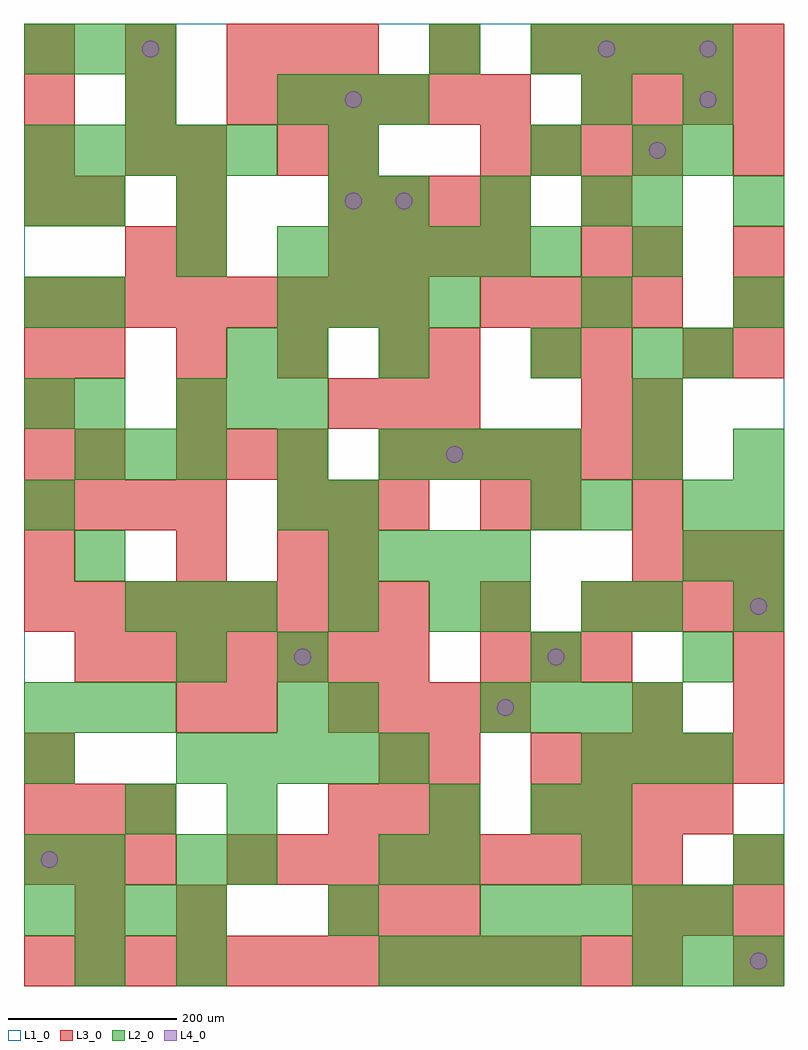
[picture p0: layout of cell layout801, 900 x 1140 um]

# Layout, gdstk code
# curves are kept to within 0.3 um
import gdstk
lib = gdstk.Library(unit=1e-6, precision=1e-09)
def R(c, l, rs):  # rectangles x0, y0, x1, y1
    for r in rs: c.add(gdstk.rectangle(r[:2], r[2:], *l))
def A(c, l, x, y, w, h, nx, ny, dx, dy):  # array of equal rectangles
    R(c, l, [(x+i*dx, y+j*dy, x+i*dx+w, y+j*dy+h) for i in range(nx) for j in range(ny)])
def P(c, l, *ps):  # polygons
    for p in ps: c.add(gdstk.Polygon(p, *l))
L1_0 = (1, 0)
L2_0 = (2, 0)
L3_0 = (3, 0)
L4_0 = (4, 0)

layout801 = lib.new_cell('layout801')
R(layout801, L1_0, [(0,0,900,1140)])
A(layout801, L2_0, 420, 0, 60, 60, 4, 2, 60, 600)
A(layout801, L2_0, 720, 0, 60, 60, 3, 1, 60, 0)
A(layout801, L2_0, 0, 60, 60, 60, 4, 1, 60, 0)
A(layout801, L2_0, 540, 60, 60, 60, 5, 1, 60, 0)
A(layout801, L2_0, 480, 120, 60, 60, 3, 1, 180, 0)
A(layout801, L2_0, 600, 180, 60, 60, 1, 4, 0, 180)
A(layout801, L2_0, 180, 240, 60, 60, 5, 1, 60, 0)
A(layout801, L2_0, 660, 240, 60, 60, 3, 1, 60, 0)
A(layout801, L2_0, 0, 300, 60, 60, 3, 2, 60, 780)
A(layout801, L2_0, 360, 300, 60, 60, 1, 3, 0, 120)
A(layout801, L2_0, 540, 300, 60, 60, 4, 1, 60, 0)
A(layout801, L2_0, 120, 420, 60, 60, 3, 1, 60, 0)
A(layout801, L2_0, 840, 420, 60, 60, 1, 4, 0, 60)
A(layout801, L2_0, 360, 480, 60, 60, 4, 1, 60, 0)
A(layout801, L2_0, 0, 540, 60, 60, 1, 4, 0, 120)
A(layout801, L2_0, 660, 540, 60, 60, 1, 3, 0, 240)
A(layout801, L2_0, 60, 600, 60, 60, 3, 1, 60, 0)
A(layout801, L2_0, 720, 600, 60, 60, 1, 3, 0, 60)
A(layout801, L2_0, 60, 660, 60, 60, 1, 3, 0, 120)
A(layout801, L2_0, 180, 660, 60, 60, 3, 1, 60, 0)
A(layout801, L2_0, 300, 780, 60, 60, 4, 1, 60, 0)
A(layout801, L2_0, 300, 840, 60, 60, 6, 1, 60, 0)
A(layout801, L2_0, 720, 840, 60, 60, 1, 3, 0, 60)
A(layout801, L2_0, 420, 900, 60, 60, 3, 1, 120, 0)
A(layout801, L2_0, 0, 960, 60, 60, 5, 1, 60, 0)
A(layout801, L2_0, 300, 1020, 60, 60, 3, 1, 60, 0)
A(layout801, L2_0, 600, 1080, 60, 60, 4, 1, 60, 0)
R(layout801, L2_0, [(60,0,120,60), (180,0,240,60), (360,60,420,120), (0,120,60,180), (60,120,120,180), (180,120,240,180), (240,120,300,180), (420,120,480,180), (120,180,180,240), (240,180,300,240), (480,180,540,240), (660,180,720,240), (0,240,60,300), (300,300,360,360), (180,360,240,420), (300,360,360,420), (780,360,840,420), (480,420,540,480), (540,420,600,480), (660,420,720,480), (720,420,780,480), (60,480,120,540), (780,480,840,540), (300,540,360,600), (780,540,840,600), (300,600,360,660), (240,720,300,780), (300,720,360,780), (420,720,480,780), (780,720,840,780), (840,780,900,840), (180,840,240,900), (180,900,240,960), (360,900,420,960), (840,900,900,960), (360,960,420,1020), (600,960,660,1020), (780,960,840,1020), (120,1020,180,1080), (780,1020,840,1080), (480,1080,540,1140)])
A(layout801, L3_0, 0, 0, 60, 60, 13, 1, 60, 0)
A(layout801, L3_0, 360, 60, 60, 60, 3, 2, 60, 120)
A(layout801, L3_0, 720, 60, 60, 60, 3, 2, 60, 420)
A(layout801, L3_0, 0, 120, 60, 60, 3, 2, 60, 60)
A(layout801, L3_0, 240, 120, 60, 60, 9, 1, 60, 0)
A(layout801, L3_0, 600, 180, 60, 60, 4, 1, 60, 0)
A(layout801, L3_0, 600, 240, 60, 60, 5, 1, 60, 0)
A(layout801, L3_0, 360, 300, 60, 60, 4, 2, 60, 540)
A(layout801, L3_0, 60, 360, 60, 60, 7, 1, 60, 0)
A(layout801, L3_0, 540, 360, 60, 60, 3, 1, 60, 0)
A(layout801, L3_0, 0, 420, 60, 60, 8, 2, 60, 360)
A(layout801, L3_0, 660, 420, 60, 60, 4, 2, 60, 600)
A(layout801, L3_0, 0, 480, 60, 60, 1, 3, 0, 120)
A(layout801, L3_0, 0, 540, 60, 60, 4, 1, 60, 0)
A(layout801, L3_0, 300, 540, 60, 60, 3, 1, 60, 0)
A(layout801, L3_0, 180, 600, 60, 60, 3, 1, 60, 0)
A(layout801, L3_0, 420, 600, 60, 60, 6, 1, 60, 0)
A(layout801, L3_0, 0, 660, 60, 60, 3, 1, 180, 0)
A(layout801, L3_0, 60, 720, 60, 60, 4, 1, 120, 0)
A(layout801, L3_0, 840, 720, 60, 60, 1, 3, 0, 60)
A(layout801, L3_0, 540, 780, 60, 60, 4, 2, 60, 180)
A(layout801, L3_0, 180, 840, 60, 60, 1, 3, 0, 60)
A(layout801, L3_0, 360, 900, 60, 60, 4, 1, 60, 0)
A(layout801, L3_0, 0, 1020, 60, 60, 3, 2, 120, 60)
A(layout801, L3_0, 300, 1020, 60, 60, 5, 1, 60, 0)
A(layout801, L3_0, 360, 1080, 60, 60, 3, 1, 120, 0)
A(layout801, L3_0, 660, 1080, 60, 60, 4, 1, 60, 0)
R(layout801, L3_0, [(840,0,900,60), (60,60,120,120), (180,60,240,120), (840,120,900,180), (0,240,60,300), (420,240,480,300), (480,240,540,300), (180,300,240,360), (240,300,300,360), (720,300,780,360), (840,300,900,360), (840,360,900,420), (540,420,600,480), (180,480,240,540), (300,480,360,540), (360,480,420,540), (540,540,600,600), (600,540,660,600), (720,540,780,600), (60,600,120,660), (420,660,480,720), (480,660,540,720), (660,660,720,720), (720,660,780,720), (480,720,540,780), (600,720,660,780), (660,720,720,780), (780,720,840,780), (120,840,180,900), (660,840,720,900), (720,840,780,900), (0,900,60,960), (60,900,120,960), (660,900,720,960), (0,960,60,1020), (120,960,180,1020), (300,960,360,1020), (360,960,420,1020), (840,960,900,1020), (300,1080,360,1140)])
P(layout801, L4_0, [(40,150),(39.239,153.827),(37.071,157.071),(33.827,159.239),(30,160),(26.173,159.239),(22.929,157.071),(20.761,153.827),(20,150),(20.761,146.173),(22.929,142.929),(26.173,140.761),(30,140),(33.827,140.761),(37.071,142.929),(39.239,146.173)],
  [(160,1110),(159.239,1113.827),(157.071,1117.071),(153.827,1119.239),(150,1120),(146.173,1119.239),(142.929,1117.071),(140.761,1113.827),(140,1110),(140.761,1106.173),(142.929,1102.929),(146.173,1100.761),(150,1100),(153.827,1100.761),(157.071,1102.929),(159.239,1106.173)],
  [(340,390),(339.239,393.827),(337.071,397.071),(333.827,399.239),(330,400),(326.173,399.239),(322.929,397.071),(320.761,393.827),(320,390),(320.761,386.173),(322.929,382.929),(326.173,380.761),(330,380),(333.827,380.761),(337.071,382.929),(339.239,386.173)],
  [(400,930),(399.239,933.827),(397.071,937.071),(393.827,939.239),(390,940),(386.173,939.239),(382.929,937.071),(380.761,933.827),(380,930),(380.761,926.173),(382.929,922.929),(386.173,920.761),(390,920),(393.827,920.761),(397.071,922.929),(399.239,926.173)],
  [(400,1050),(399.239,1053.827),(397.071,1057.071),(393.827,1059.239),(390,1060),(386.173,1059.239),(382.929,1057.071),(380.761,1053.827),(380,1050),(380.761,1046.173),(382.929,1042.929),(386.173,1040.761),(390,1040),(393.827,1040.761),(397.071,1042.929),(399.239,1046.173)],
  [(460,930),(459.239,933.827),(457.071,937.071),(453.827,939.239),(450,940),(446.173,939.239),(442.929,937.071),(440.761,933.827),(440,930),(440.761,926.173),(442.929,922.929),(446.173,920.761),(450,920),(453.827,920.761),(457.071,922.929),(459.239,926.173)],
  [(520,630),(519.239,633.827),(517.071,637.071),(513.827,639.239),(510,640),(506.173,639.239),(502.929,637.071),(500.761,633.827),(500,630),(500.761,626.173),(502.929,622.929),(506.173,620.761),(510,620),(513.827,620.761),(517.071,622.929),(519.239,626.173)],
  [(580,330),(579.239,333.827),(577.071,337.071),(573.827,339.239),(570,340),(566.173,339.239),(562.929,337.071),(560.761,333.827),(560,330),(560.761,326.173),(562.929,322.929),(566.173,320.761),(570,320),(573.827,320.761),(577.071,322.929),(579.239,326.173)],
  [(640,390),(639.239,393.827),(637.071,397.071),(633.827,399.239),(630,400),(626.173,399.239),(622.929,397.071),(620.761,393.827),(620,390),(620.761,386.173),(622.929,382.929),(626.173,380.761),(630,380),(633.827,380.761),(637.071,382.929),(639.239,386.173)],
  [(700,1110),(699.239,1113.827),(697.071,1117.071),(693.827,1119.239),(690,1120),(686.173,1119.239),(682.929,1117.071),(680.761,1113.827),(680,1110),(680.761,1106.173),(682.929,1102.929),(686.173,1100.761),(690,1100),(693.827,1100.761),(697.071,1102.929),(699.239,1106.173)],
  [(760,990),(759.239,993.827),(757.071,997.071),(753.827,999.239),(750,1000),(746.173,999.239),(742.929,997.071),(740.761,993.827),(740,990),(740.761,986.173),(742.929,982.929),(746.173,980.761),(750,980),(753.827,980.761),(757.071,982.929),(759.239,986.173)],
  [(820,1050),(819.239,1053.827),(817.071,1057.071),(813.827,1059.239),(810,1060),(806.173,1059.239),(802.929,1057.071),(800.761,1053.827),(800,1050),(800.761,1046.173),(802.929,1042.929),(806.173,1040.761),(810,1040),(813.827,1040.761),(817.071,1042.929),(819.239,1046.173)],
  [(820,1110),(819.239,1113.827),(817.071,1117.071),(813.827,1119.239),(810,1120),(806.173,1119.239),(802.929,1117.071),(800.761,1113.827),(800,1110),(800.761,1106.173),(802.929,1102.929),(806.173,1100.761),(810,1100),(813.827,1100.761),(817.071,1102.929),(819.239,1106.173)],
  [(880,30),(879.239,33.827),(877.071,37.071),(873.827,39.239),(870,40),(866.173,39.239),(862.929,37.071),(860.761,33.827),(860,30),(860.761,26.173),(862.929,22.929),(866.173,20.761),(870,20),(873.827,20.761),(877.071,22.929),(879.239,26.173)],
  [(880,450),(879.239,453.827),(877.071,457.071),(873.827,459.239),(870,460),(866.173,459.239),(862.929,457.071),(860.761,453.827),(860,450),(860.761,446.173),(862.929,442.929),(866.173,440.761),(870,440),(873.827,440.761),(877.071,442.929),(879.239,446.173)])

lib.write_gds('layout801.gds')
